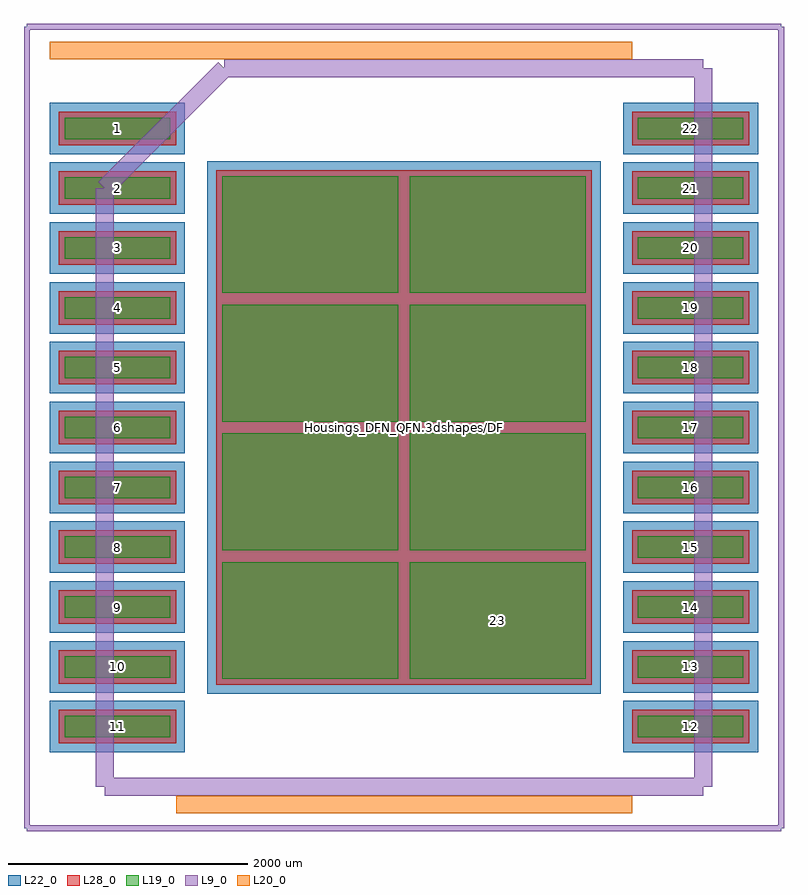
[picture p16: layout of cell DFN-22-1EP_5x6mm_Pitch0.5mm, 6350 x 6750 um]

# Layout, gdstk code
import gdstk
lib = gdstk.Library(unit=1e-6, precision=1e-09)
def R(c, l, rs):  # rectangles x0, y0, x1, y1
    for r in rs: c.add(gdstk.rectangle(r[:2], r[2:], *l))
def A(c, l, x, y, w, h, nx, ny, dx, dy):  # array of equal rectangles
    R(c, l, [(x+i*dx, y+j*dy, x+i*dx+w, y+j*dy+h) for i in range(nx) for j in range(ny)])
L9_0 = (9, 0)
L19_0 = (19, 0)
L20_0 = (20, 0)
L22_0 = (22, 0)
L28_0 = (28, 0)

dfn_22_1ep_5x6mm_pitch0_ = lib.new_cell('DFN-22-1EP_5x6mm_Pitch0.5mm')
A(dfn_22_1ep_5x6mm_pitch0_, L19_0, -2835, -2590, 880, 180, 1, 11, 0, 500)
A(dfn_22_1ep_5x6mm_pitch0_, L19_0, 1955, -2590, 880, 180, 1, 11, 0, 500)
A(dfn_22_1ep_5x6mm_pitch0_, L19_0, -1520, -2100, 1470, 975, 1, 4, 0, 1075)
A(dfn_22_1ep_5x6mm_pitch0_, L19_0, 50, -2100, 1470, 975, 1, 4, 0, 1075)
A(dfn_22_1ep_5x6mm_pitch0_, L22_0, -2960, -2715, 1130, 430, 1, 11, 0, 500)
A(dfn_22_1ep_5x6mm_pitch0_, L22_0, 1830, -2715, 1130, 430, 1, 11, 0, 500)
A(dfn_22_1ep_5x6mm_pitch0_, L22_0, -1645, -2225, 1720, 1225, 1, 4, 0, 1075)
A(dfn_22_1ep_5x6mm_pitch0_, L22_0, -75, -2225, 1720, 1225, 1, 4, 0, 1075)
A(dfn_22_1ep_5x6mm_pitch0_, L28_0, -2885, -2640, 980, 280, 1, 11, 0, 500)
A(dfn_22_1ep_5x6mm_pitch0_, L28_0, 1905, -2640, 980, 280, 1, 11, 0, 500)
A(dfn_22_1ep_5x6mm_pitch0_, L28_0, -1570, -2150, 1570, 1075, 1, 4, 0, 1075)
A(dfn_22_1ep_5x6mm_pitch0_, L28_0, 0, -2150, 1570, 1075, 1, 4, 0, 1075)
dfn_22_1ep_5x6mm_pitch0_.add(gdstk.FlexPath([(-2960,3150),(1905,3150)], 149.998, ends="flush", simple_path=True, layer=20, datatype=0))  # L20_0
dfn_22_1ep_5x6mm_pitch0_.add(gdstk.FlexPath([(-1905,-3150),(1905,-3150)], 149.998, ends="flush", simple_path=True, layer=20, datatype=0))  # L20_0
dfn_22_1ep_5x6mm_pitch0_.add(gdstk.FlexPath([(-3150,-3350),(3150,-3350)], 50, ends="flush", simple_path=True, layer=9, datatype=0))  # L9_0
dfn_22_1ep_5x6mm_pitch0_.add(gdstk.FlexPath([(-3150,3350),(3150,3350)], 50, ends="flush", simple_path=True, layer=9, datatype=0))  # L9_0
dfn_22_1ep_5x6mm_pitch0_.add(gdstk.FlexPath([(3150,3350),(3150,-3350)], 50, ends="flush", simple_path=True, layer=9, datatype=0))  # L9_0
dfn_22_1ep_5x6mm_pitch0_.add(gdstk.FlexPath([(-3150,3350),(-3150,-3350)], 50, ends="flush", simple_path=True, layer=9, datatype=0))  # L9_0
dfn_22_1ep_5x6mm_pitch0_.add(gdstk.FlexPath([(-2500,2000),(-1500,3000)], 149.998, ends="flush", simple_path=True, layer=9, datatype=0))  # L9_0
dfn_22_1ep_5x6mm_pitch0_.add(gdstk.FlexPath([(-2500,-3000),(-2500,2000)], 149.998, ends="flush", simple_path=True, layer=9, datatype=0))  # L9_0
dfn_22_1ep_5x6mm_pitch0_.add(gdstk.FlexPath([(2500,-3000),(-2500,-3000)], 149.998, ends="flush", simple_path=True, layer=9, datatype=0))  # L9_0
dfn_22_1ep_5x6mm_pitch0_.add(gdstk.FlexPath([(2500,3000),(2500,-3000)], 149.998, ends="flush", simple_path=True, layer=9, datatype=0))  # L9_0
dfn_22_1ep_5x6mm_pitch0_.add(gdstk.FlexPath([(-1500,3000),(2500,3000)], 149.998, ends="flush", simple_path=True, layer=9, datatype=0))  # L9_0
dfn_22_1ep_5x6mm_pitch0_.add(gdstk.Label('Housings_DFN_QFN.3dshapes/DFN-22-1EP_5x6mm_Pitch0.5mm.wrl', (0,0), layer=12, texttype=0))
dfn_22_1ep_5x6mm_pitch0_.add(gdstk.Label('23', (785,-1612.5), layer=28, texttype=0))
dfn_22_1ep_5x6mm_pitch0_.add(gdstk.Label('22', (2395,2500), layer=28, texttype=0))
dfn_22_1ep_5x6mm_pitch0_.add(gdstk.Label('21', (2395,2000), layer=28, texttype=0))
dfn_22_1ep_5x6mm_pitch0_.add(gdstk.Label('20', (2395,1500), layer=28, texttype=0))
dfn_22_1ep_5x6mm_pitch0_.add(gdstk.Label('19', (2395,1000), layer=28, texttype=0))
dfn_22_1ep_5x6mm_pitch0_.add(gdstk.Label('18', (2395,500), layer=28, texttype=0))
dfn_22_1ep_5x6mm_pitch0_.add(gdstk.Label('17', (2395,0), layer=28, texttype=0))
dfn_22_1ep_5x6mm_pitch0_.add(gdstk.Label('16', (2395,-500), layer=28, texttype=0))
dfn_22_1ep_5x6mm_pitch0_.add(gdstk.Label('15', (2395,-1000), layer=28, texttype=0))
dfn_22_1ep_5x6mm_pitch0_.add(gdstk.Label('14', (2395,-1500), layer=28, texttype=0))
dfn_22_1ep_5x6mm_pitch0_.add(gdstk.Label('13', (2395,-2000), layer=28, texttype=0))
dfn_22_1ep_5x6mm_pitch0_.add(gdstk.Label('12', (2395,-2500), layer=28, texttype=0))
dfn_22_1ep_5x6mm_pitch0_.add(gdstk.Label('11', (-2395,-2500), layer=28, texttype=0))
dfn_22_1ep_5x6mm_pitch0_.add(gdstk.Label('10', (-2395,-2000), layer=28, texttype=0))
dfn_22_1ep_5x6mm_pitch0_.add(gdstk.Label('9', (-2395,-1500), layer=28, texttype=0))
dfn_22_1ep_5x6mm_pitch0_.add(gdstk.Label('8', (-2395,-1000), layer=28, texttype=0))
dfn_22_1ep_5x6mm_pitch0_.add(gdstk.Label('7', (-2395,-500), layer=28, texttype=0))
dfn_22_1ep_5x6mm_pitch0_.add(gdstk.Label('6', (-2395,0), layer=28, texttype=0))
dfn_22_1ep_5x6mm_pitch0_.add(gdstk.Label('5', (-2395,500), layer=28, texttype=0))
dfn_22_1ep_5x6mm_pitch0_.add(gdstk.Label('4', (-2395,1000), layer=28, texttype=0))
dfn_22_1ep_5x6mm_pitch0_.add(gdstk.Label('3', (-2395,1500), layer=28, texttype=0))
dfn_22_1ep_5x6mm_pitch0_.add(gdstk.Label('2', (-2395,2000), layer=28, texttype=0))
dfn_22_1ep_5x6mm_pitch0_.add(gdstk.Label('1', (-2395,2500), layer=28, texttype=0))
dfn_22_1ep_5x6mm_pitch0_.add(gdstk.Label('type', (0,-4075), layer=9, texttype=0))
dfn_22_1ep_5x6mm_pitch0_.add(gdstk.Label('devicename', (0,4075), layer=9, texttype=0))

lib.write_gds('DFN-22-1EP_5x6mm_Pitch0.5mm.gds')
